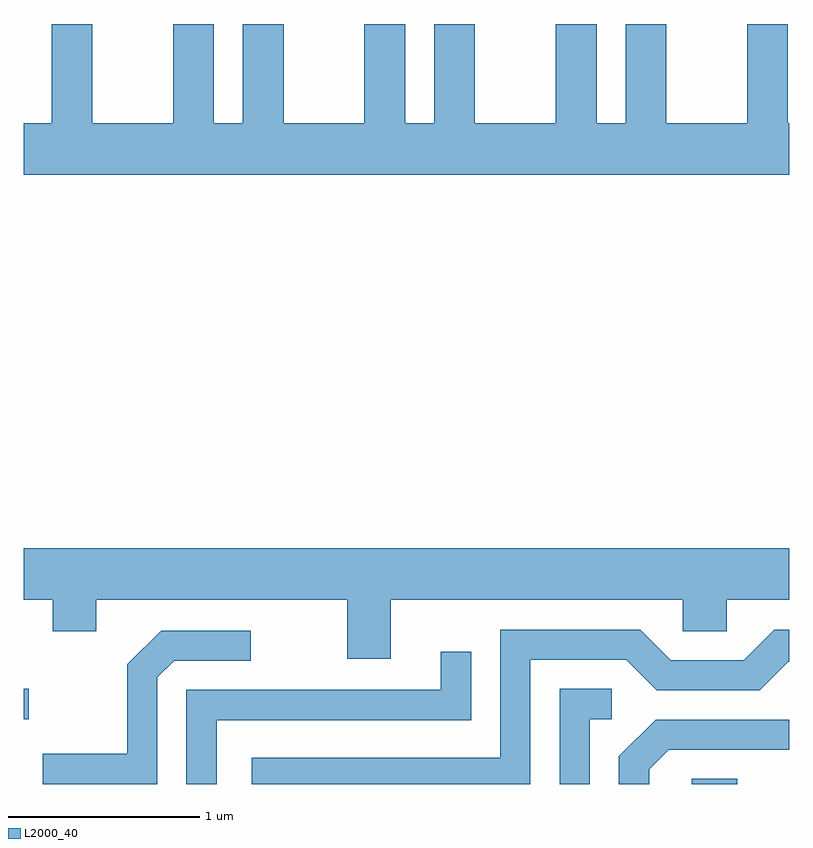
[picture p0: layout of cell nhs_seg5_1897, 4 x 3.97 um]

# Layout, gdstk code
import gdstk
lib = gdstk.Library(unit=1e-6, precision=1e-09)
def R(c, l, rs):  # rectangles x0, y0, x1, y1
    for r in rs: c.add(gdstk.rectangle(r[:2], r[2:], *l))
def P(c, l, *ps):  # polygons
    for p in ps: c.add(gdstk.Polygon(p, *l))
L2000_40 = (2000, 40)

nhs_seg5_1897 = lib.new_cell('nhs_seg5_1897')
R(nhs_seg5_1897, L2000_40, [(245.101,1438.072,245.339,1438.099), (241.611,1438.411,241.638,1438.569)])
P(nhs_seg5_1897, L2000_40, [(245.611,1441.524),(245.604,1441.524),(245.604,1442.044),(245.391,1442.044),(245.391,1441.524),(244.969,1441.524),(244.969,1442.044),(244.756,1442.044),(244.756,1441.524),(244.604,1441.524),(244.604,1442.044),(244.391,1442.044),(244.391,1441.524),(243.969,1441.524),(243.969,1442.044),(243.756,1442.044),(243.756,1441.524),(243.604,1441.524),(243.604,1442.044),(243.391,1442.044),(243.391,1441.524),(242.969,1441.524),(242.969,1442.044),(242.756,1442.044),(242.756,1441.524),(242.604,1441.524),(242.604,1442.044),(242.391,1442.044),(242.391,1441.524),(241.969,1441.524),(241.969,1442.044),(241.756,1442.044),(241.756,1441.524),(241.611,1441.524),(241.611,1441.256),(245.611,1441.256)],
  [(243.529,1439.036),(245.056,1439.036),(245.056,1438.871),(245.284,1438.871),(245.284,1439.036),(245.611,1439.036),(245.611,1439.304),(241.611,1439.304),(241.611,1439.036),(241.761,1439.036),(241.761,1438.871),(241.989,1438.871),(241.989,1439.036),(243.301,1439.036),(243.301,1438.726),(243.529,1438.726)],
  [(244.259,1438.721),(244.759,1438.721),(244.919,1438.561),(245.457,1438.561),(245.607,1438.711),(245.611,1438.711),(245.611,1438.879),(245.534,1438.879),(245.374,1438.719),(244.992,1438.719),(244.832,1438.879),(244.101,1438.879),(244.101,1438.209),(242.801,1438.209),(242.801,1438.072),(244.259,1438.072)],
  [(242.309,1438.629),(242.397,1438.716),(242.798,1438.716),(242.798,1438.874),(242.329,1438.874),(242.151,1438.697),(242.151,1438.229),(241.711,1438.229),(241.711,1438.072),(242.309,1438.072)],
  [(242.619,1438.406),(243.949,1438.406),(243.949,1438.763),(243.791,1438.763),(243.791,1438.564),(242.461,1438.564),(242.461,1438.072),(242.619,1438.072)],
  [(244.569,1438.411),(244.683,1438.411),(244.683,1438.569),(244.411,1438.569),(244.411,1438.072),(244.569,1438.072)],
  [(244.879,1438.149),(244.982,1438.251),(245.611,1438.251),(245.611,1438.409),(244.914,1438.409),(244.721,1438.217),(244.721,1438.072),(244.879,1438.072)])

lib.write_gds('nhs_seg5_1897.gds')
